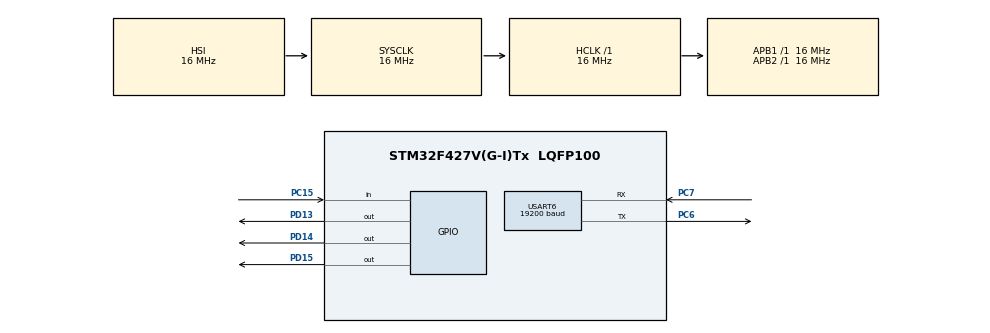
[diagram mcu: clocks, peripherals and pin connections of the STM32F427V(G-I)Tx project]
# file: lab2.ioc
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Mcu.Family=STM32F4
Mcu.Name=STM32F427V(G-I)Tx
Mcu.Package=LQFP100
NVIC.PriorityGroup=NVIC_PRIORITYGROUP_4
NVIC.USART6_IRQn=true\:0\:0\:false\:false\:true\:true\:true\:true
PA13.Mode=JTAG_5_pins
PA13.Signal=SYS_JTMS-SWDIO
PA14.Mode=JTAG_5_pins
PA14.Signal=SYS_JTCK-SWCLK
PA15.Mode=JTAG_5_pins
PA15.Signal=SYS_JTDI
PB3.Mode=JTAG_5_pins
PB3.Signal=SYS_JTDO-SWO
PB4.Mode=JTAG_5_pins
PB4.Signal=SYS_JTRST
PC15/OSC32_OUT.Signal=GPIO_Input
PC6.Mode=Asynchronous
PC6.Signal=USART6_TX
PC7.Mode=Asynchronous
PC7.Signal=USART6_RX
PD13.Signal=GPIO_Output
PD14.Signal=GPIO_Output
PD15.Signal=GPIO_Output
ProjectManager.HeapSize=0x200
ProjectManager.StackSize=0x400
ProjectManager.TargetToolchain=STM32CubeIDE
RCC.AHBFreq_Value=16000000
RCC.APB1Freq_Value=16000000
RCC.APB2Freq_Value=16000000
RCC.CortexFreq_Value=16000000
RCC.HSE_VALUE=25000000
RCC.HSI_VALUE=16000000
RCC.LSE_VALUE=32768
RCC.SYSCLKFreq_VALUE=16000000
RCC.VCOOutputFreq_Value=192000000
USART6.BaudRate=19200
USART6.VirtualMode=VM_ASYNC
board=custom

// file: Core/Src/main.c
/* USER CODE BEGIN Header */
/**
  ******************************************************************************
  * @file           : main.c
  * @brief          : Main program body
  ******************************************************************************
  * @attention
  *
  * Copyright (c) 2026 STMicroelectronics.
  * All rights reserved.
  *
  * This software is licensed under terms that can be found in the LICENSE file
  * in the root directory of this software component.
  * If no LICENSE file comes with this software, it is provided AS-IS.
  *
  ******************************************************************************
  */
/* USER CODE END Header */
#include "main.h"

/* USER CODE BEGIN Includes */
#include "uart_drv.h"
#include "button.h"
/* USER CODE END Includes */

/* USER CODE BEGIN PTD */
typedef enum {
    ST_OP1 = 0,
    ST_OP,
    ST_OP2,
    ST_EQ
} calc_state_t;
/* USER CODE END PTD */

/* USER CODE BEGIN PD */
#define RED_LED_PORT   GPIOD
#define RED_LED_PIN    GPIO_PIN_15
/* USER CODE END PD */

UART_HandleTypeDef huart6;

/* USER CODE BEGIN PV */
static calc_state_t s_state;
static int32_t      s_op1;
static int32_t      s_op2;
static char         s_op;
static int32_t      s_cur;
static uint8_t      s_digits;

static void red_led(int on)
{
    HAL_GPIO_WritePin(RED_LED_PORT, RED_LED_PIN,
                      on ? GPIO_PIN_SET : GPIO_PIN_RESET);
}

static void calc_reset(void)
{
    s_state  = ST_OP1;
    s_op1    = 0;
    s_op2    = 0;
    s_op     = 0;
    s_cur    = 0;
    s_digits = 0;
}

static void print_prompt(void) { uart_send_str("\r\n> "); }

static void print_int(int32_t v)
{
    char buf[8];
    int  i = 0;
    int  neg = 0;

    if (v == 0) { uart_send_byte('0'); return; }
    if (v < 0) { neg = 1; v = -v; }

    while (v > 0 && i < (int)sizeof(buf)) {
        buf[i++] = (char)('0' + (v % 10));
        v /= 10;
    }
    if (neg) uart_send_byte('-');
    while (i > 0) uart_send_byte((uint8_t)buf[--i]);
}

static void report_error(void)
{
    uart_send_str("\r\nerror");
    red_led(1);
    calc_reset();
    print_prompt();
}

static void print_mode_banner(uart_mode_t m)
{
    if (m == UART_MODE_IRQ) {
        uart_send_str("\r\n[Mode: INTERRUPTS ON]");
    } else {
        uart_send_str("\r\n[Mode: POLLING]");
    }
    uart_send_str("\r\nInput cleared. Start typing again.");
    print_prompt();
}

static void do_compute(void)
{
    int32_t r   = 0;
    int     err = 0;

    switch (s_op) {
        case '+': r = s_op1 + s_op2; break;
        case '-': r = s_op1 - s_op2; break;
        case '*': r = s_op1 * s_op2; break;
        case '/':
            if (s_op2 == 0) { err = 1; break; }
            r = s_op1 / s_op2;
            break;
        default: err = 1; break;
    }

    if (!err && (r > 32767 || r < -32768)) err = 1;

    if (err) {
        report_error();
    } else {
        uart_send_str("\r\n");
        print_int(r);
        red_led(0);
        calc_reset();
        print_prompt();
    }
}

static void handle_digit(char c)
{
    if (s_state == ST_OP1 && s_digits == 0) red_led(0);

    if (s_state == ST_OP || s_state == ST_EQ) { report_error(); return; }

    s_cur = s_cur * 10 + (c - '0');
    s_digits++;

    if (s_cur > 32767) { report_error(); return; }

    if (s_digits >= 5) {
        if (s_state == ST_OP1) {
            s_op1 = s_cur; s_cur = 0; s_digits = 0; s_state = ST_OP;
        } else {
            s_op2 = s_cur; s_cur = 0; s_digits = 0; s_state = ST_EQ;
        }
    }
}

static void handle_operator(char c)
{
    if (s_state == ST_OP1) {
        if (s_digits == 0) { report_error(); return; }
        s_op1 = s_cur; s_cur = 0; s_digits = 0;
        s_op = c; s_state = ST_OP2;
    } else if (s_state == ST_OP) {
        s_op = c; s_state = ST_OP2;
    } else {
        report_error();
    }
}

static void handle_equal(void)
{
    if (s_state == ST_OP2) {
        if (s_digits == 0) { report_error(); return; }
        s_op2 = s_cur; s_cur = 0; s_digits = 0; s_state = ST_EQ;
    }
    if (s_state == ST_EQ) {
        do_compute();
    } else {
        report_error();
    }
}

static void handle_byte(uint8_t b)
{
    if (b == 0x08 || b == 0x7F) {
        if (s_digits > 0) {
            uart_send_str("\b \b");
            s_cur /= 10;
            s_digits--;
        }
        return;
    }

    uart_send_byte(b);

    if (b >= '0' && b <= '9')                       handle_digit((char)b);
    else if (b=='+' || b=='-' || b=='*' || b=='/')  handle_operator((char)b);
    else if (b == '=')                              handle_equal();
    else if (b == '\r' || b == '\n')                { /* ignore */ }
    else                                            report_error();
}
/* USER CODE END PV */

void SystemClock_Config(void);
static void MX_GPIO_Init(void);
static void MX_USART6_UART_Init(void);

int main(void)
{

  /* MCU Configuration--------------------------------------------------------*/

  /* Reset of all peripherals, Initializes the Flash interface and the Systick. */
  HAL_Init();

  /* Configure the system clock */
  SystemClock_Config();

  /* Initialize all configured peripherals */
  MX_GPIO_Init();
  MX_USART6_UART_Init();
  /* USER CODE BEGIN 2 */
    uart_init();
    uart_set_mode(UART_MODE_POLL);
    button_init();

    calc_reset();
    red_led(0);

    print_mode_banner(UART_MODE_POLL);
  /* USER CODE END 2 */

  /* Infinite loop */
  /* USER CODE BEGIN WHILE */
  while (1)
  {
      button_event_t ev = button_poll();
      if (ev == BTN_SHORT_PRESS) {
          uart_mode_t m = (uart_get_mode() == UART_MODE_IRQ)
                          ? UART_MODE_POLL
                          : UART_MODE_IRQ;
          uart_set_mode(m);
          calc_reset();
          red_led(0);
          print_mode_banner(m);
      }

      uint8_t b;
      while (uart_recv_byte(&b)) {
          handle_byte(b);
      }
    /* USER CODE END WHILE */

  }
}

void SystemClock_Config(void)
{
  RCC_OscInitTypeDef RCC_OscInitStruct = {0};
  RCC_ClkInitTypeDef RCC_ClkInitStruct = {0};

  /** Configure the main internal regulator output voltage
  */
  __HAL_RCC_PWR_CLK_ENABLE();
  __HAL_PWR_VOLTAGESCALING_CONFIG(PWR_REGULATOR_VOLTAGE_SCALE3);

  /** Initializes the RCC Oscillators according to the specified parameters
  * in the RCC_OscInitTypeDef structure.
  */
  RCC_OscInitStruct.OscillatorType = RCC_OSCILLATORTYPE_HSI;
  RCC_OscInitStruct.HSIState = RCC_HSI_ON;
  RCC_OscInitStruct.HSICalibrationValue = RCC_HSICALIBRATION_DEFAULT;
  RCC_OscInitStruct.PLL.PLLState = RCC_PLL_NONE;
  if (HAL_RCC_OscConfig(&RCC_OscInitStruct) != HAL_OK)
  {
    Error_Handler();
  }

  /** Initializes the CPU, AHB and APB buses clocks
  */
  RCC_ClkInitStruct.ClockType = RCC_CLOCKTYPE_HCLK|RCC_CLOCKTYPE_SYSCLK
                              |RCC_CLOCKTYPE_PCLK1|RCC_CLOCKTYPE_PCLK2;
  RCC_ClkInitStruct.SYSCLKSource = RCC_SYSCLKSOURCE_HSI;
  RCC_ClkInitStruct.AHBCLKDivider = RCC_SYSCLK_DIV1;
  RCC_ClkInitStruct.APB1CLKDivider = RCC_HCLK_DIV1;
  RCC_ClkInitStruct.APB2CLKDivider = RCC_HCLK_DIV1;

  if (HAL_RCC_ClockConfig(&RCC_ClkInitStruct, FLASH_LATENCY_0) != HAL_OK)
  {
    Error_Handler();
  }
}

static void MX_USART6_UART_Init(void)
{

  huart6.Instance = USART6;
  huart6.Init.BaudRate = 19200;
  huart6.Init.WordLength = UART_WORDLENGTH_8B;
  huart6.Init.StopBits = UART_STOPBITS_1;
  huart6.Init.Parity = UART_PARITY_NONE;
  huart6.Init.Mode = UART_MODE_TX_RX;
  huart6.Init.HwFlowCtl = UART_HWCONTROL_NONE;
  huart6.Init.OverSampling = UART_OVERSAMPLING_16;
  if (HAL_UART_Init(&huart6) != HAL_OK)
  {
    Error_Handler();
  }

}

static void MX_GPIO_Init(void)
{
  GPIO_InitTypeDef GPIO_InitStruct = {0};

  /* GPIO Ports Clock Enable */
  __HAL_RCC_GPIOC_CLK_ENABLE();
  __HAL_RCC_GPIOD_CLK_ENABLE();
  __HAL_RCC_GPIOA_CLK_ENABLE();
  __HAL_RCC_GPIOB_CLK_ENABLE();

  /*Configure GPIO pin Output Level */
  HAL_GPIO_WritePin(GPIOD, GPIO_PIN_13|GPIO_PIN_14|GPIO_PIN_15, GPIO_PIN_RESET);

  /*Configure GPIO pin : PC15 */
  GPIO_InitStruct.Pin = GPIO_PIN_15;
  GPIO_InitStruct.Mode = GPIO_MODE_INPUT;
  GPIO_InitStruct.Pull = GPIO_NOPULL;
  HAL_GPIO_Init(GPIOC, &GPIO_InitStruct);

  /*Configure GPIO pins : PD13 PD14 PD15 */
  GPIO_InitStruct.Pin = GPIO_PIN_13|GPIO_PIN_14|GPIO_PIN_15;
  GPIO_InitStruct.Mode = GPIO_MODE_OUTPUT_PP;
  GPIO_InitStruct.Pull = GPIO_NOPULL;
  GPIO_InitStruct.Speed = GPIO_SPEED_FREQ_LOW;
  HAL_GPIO_Init(GPIOD, &GPIO_InitStruct);

}

void Error_Handler(void)
{
  __disable_irq();
  while (1)
  {
  }
}
